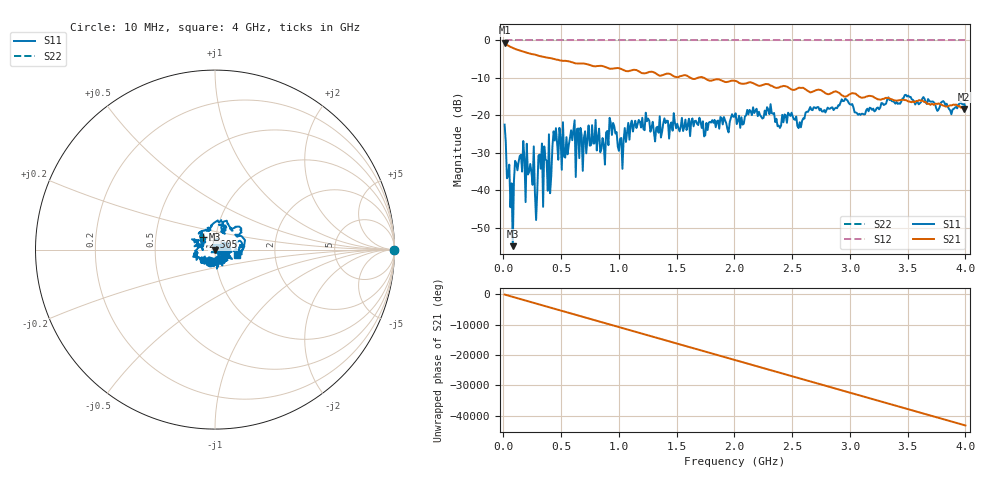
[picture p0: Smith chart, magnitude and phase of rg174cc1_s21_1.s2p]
! Anritsu VNA Master:  Model: MS2024B
! SN:  2417009
! /card0/usr/rg174cc1_s21_1.s2p
! Existing Calibration Information:
! TYPE:  Current Settings,  Active Cal Settings
! TIME:  10/07/2026 02:07:13 AM,  10/07/2026 01:30:09 AM
! INTERNAL TEMP:  51.3 C,  49.0 C
! # POINTS:  396,  396
! START FREQ:  10.000 MHz,  10.000 MHz
! STOP FREQ:  4.000 GHz,  4.000 GHz
! SOURCE POWER:  Default,  Default
! IFBW:  1 kHz,  1 kHz
! AVG FACTOR:  16 ,  16
! REF PLANE 1:  0 mm,  0 mm
! REF PLANE 2:  0 mm,  0 mm
! CAL TYPE:  1P2P S11,S21,  1P2P S11,S21
! CAL METHOD:  SOLT,  SOLT
! CAL LINE TYPE:  Coax,  Coax
! DUT PORT 1:  N-Conn(M),  N-Conn(M)
! DUT PORT 2:  N-Conn(M),  N-Conn(M)
! CAL STATUS:  OK: Accuracy High,  --
# GHZ S DB R 50.0
! FREQ.GHZ  S11DB  S11A  S21DB  S21A  S12DB  S12A  S22DB  S22A
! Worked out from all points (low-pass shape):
!   396 points, 10 MHz to 4 GHz, reference 50 ohm
!   highest |S21| = -0.58 dB at 10 MHz (marker M1); lowest = -18.3 dB at 3.99 GHz (marker M2)
!   |S21| within 3 dB of the highest: start of sweep to 238.2 MHz
!   lowest |S11| = -54.9 dB at 80.71 MHz (marker M3), VSWR 1.00, Z = 49.8 + j0.00979 ohm
!   |S11| at or under -10 dB: start of sweep to end of sweep
!   |S22| runs from 0.0 to 0.0 dB; largest |S21 - S12| = 1.8
!   S11 on the Smith chart (normalised r, x): 10 MHz: 0.94, -0.13; 2.505 GHz: 0.86, +0.12; 4 GHz: 1.28, -0.08
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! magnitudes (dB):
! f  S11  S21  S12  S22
! 10 MHz  -22.5  -0.6  0.0  0.0
! 80.71 MHz  -54.9  -2.0  0.0  0.0
! 100.9 MHz  -32.2  -2.3  0.0  0.0
! 171.6 MHz  -26.9  -3.0  0.0  0.0
! 191.8 MHz  -43.2  -3.2  0.0  0.0
! 201.9 MHz  -27.6  -3.3  0.0  0.0
! 262.5 MHz  -28.3  -3.7  0.0  0.0
! 282.7 MHz  -48.0  -3.9  0.0  0.0
! 333.2 MHz  -27.5  -4.3  0.0  0.0
! 343.3 MHz  -44.4  -4.4  0.0  0.0
! 353.4 MHz  -28.3  -4.4  0.0  0.0
! 393.8 MHz  -25.1  -4.7  0.0  0.0
! 403.9 MHz  -40.8  -4.7  0.0  0.0
! 434.3 MHz  -24.3  -4.9  0.0  0.0
! 676.7 MHz  -25.2  -6.2  0.0  0.0
! 1.343 GHz  -24.7  -9.3  0.0  0.0
! 2.01 GHz  -19.5  -10.8  0.0  0.0
! 2.505 GHz  -20.3  -13.2  0.0  0.0
! 2.677 GHz  -18.6  -13.7  0.0  0.0
! 3.343 GHz  -15.9  -15.5  0.0  0.0
! 3.99 GHz  -17.0  -18.3  0.0  0.0
! 4 GHz  -17.8  -18.0  0.0  0.0
